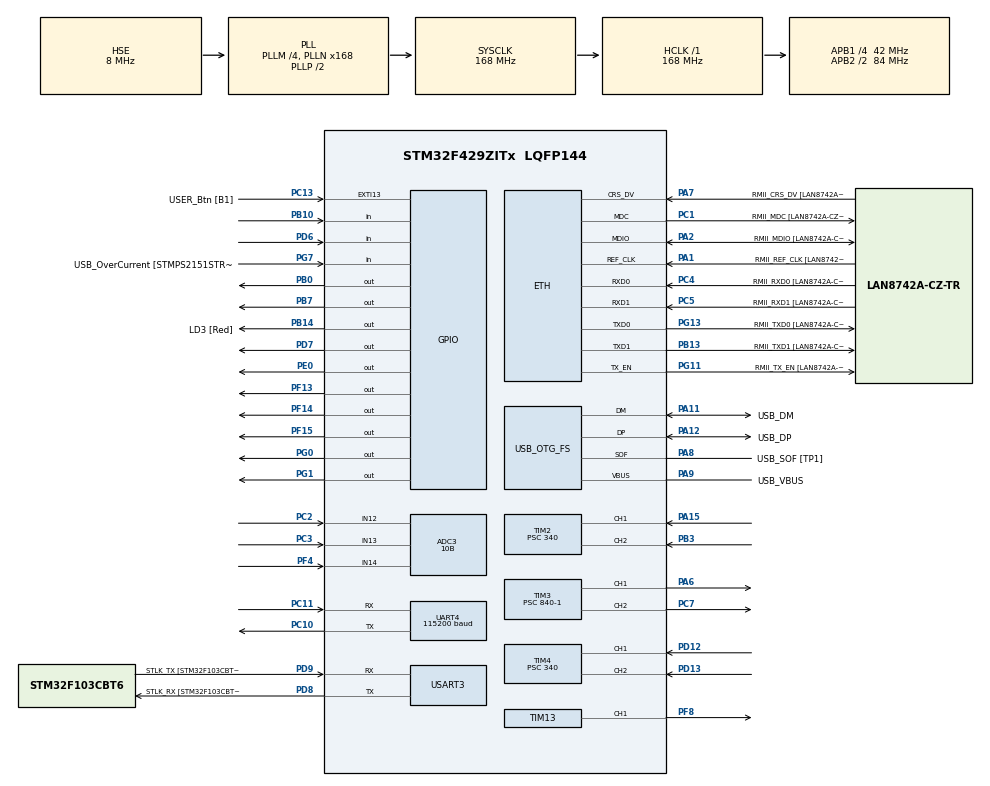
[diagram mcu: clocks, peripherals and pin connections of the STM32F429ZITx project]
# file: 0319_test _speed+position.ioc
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ADC3.Channel-3\#ChannelRegularConversion=ADC_CHANNEL_12
ADC3.Channel-4\#ChannelRegularConversion=ADC_CHANNEL_13
ADC3.Channel-5\#ChannelRegularConversion=ADC_CHANNEL_14
ADC3.ContinuousConvMode=DISABLE
ADC3.DMAContinuousRequests=ENABLE
ADC3.ExternalTrigConv=ADC_EXTERNALTRIGCONV_T8_TRGO
ADC3.NbrOfConversion=3
ADC3.NbrOfConversionFlag=1
ADC3.Rank-3\#ChannelRegularConversion=1
ADC3.Rank-4\#ChannelRegularConversion=2
ADC3.Rank-5\#ChannelRegularConversion=3
ADC3.Resolution=ADC_RESOLUTION_10B
ADC3.SamplingTime-3\#ChannelRegularConversion=ADC_SAMPLETIME_480CYCLES
ADC3.SamplingTime-4\#ChannelRegularConversion=ADC_SAMPLETIME_480CYCLES
ADC3.SamplingTime-5\#ChannelRegularConversion=ADC_SAMPLETIME_480CYCLES
ADC3.ScanConvMode=ENABLE
Dma.ADC3.1.Direction=DMA_PERIPH_TO_MEMORY
Dma.ADC3.1.FIFOMode=DMA_FIFOMODE_DISABLE
Dma.ADC3.1.Instance=DMA2_Stream1
Dma.ADC3.1.MemDataAlignment=DMA_MDATAALIGN_HALFWORD
Dma.ADC3.1.MemInc=DMA_MINC_ENABLE
Dma.ADC3.1.Mode=DMA_CIRCULAR
Dma.ADC3.1.PeriphDataAlignment=DMA_PDATAALIGN_HALFWORD
Dma.ADC3.1.PeriphInc=DMA_PINC_DISABLE
Dma.ADC3.1.Priority=DMA_PRIORITY_LOW
Dma.Request0=TIM4_UP
Dma.Request1=ADC3
Dma.TIM4_UP.0.Direction=DMA_PERIPH_TO_MEMORY
Dma.TIM4_UP.0.FIFOMode=DMA_FIFOMODE_DISABLE
Dma.TIM4_UP.0.Instance=DMA1_Stream6
Dma.TIM4_UP.0.MemDataAlignment=DMA_MDATAALIGN_HALFWORD
Dma.TIM4_UP.0.MemInc=DMA_MINC_ENABLE
Dma.TIM4_UP.0.Mode=DMA_NORMAL
Dma.TIM4_UP.0.PeriphDataAlignment=DMA_PDATAALIGN_HALFWORD
Dma.TIM4_UP.0.PeriphInc=DMA_PINC_DISABLE
Dma.TIM4_UP.0.Priority=DMA_PRIORITY_LOW
ETH.MediaInterface=HAL_ETH_RMII_MODE
ETH.PHY_Name=LAN8742A_PHY_ADDRESS
ETH.PHY_Value=0
ETH.PhyAddress=0
Mcu.Family=STM32F4
Mcu.Name=STM32F429ZITx
Mcu.Package=LQFP144
NVIC.ADC_IRQn=true\:0\:0\:false\:false\:true\:true\:true\:true
NVIC.DMA1_Stream6_IRQn=true\:0\:0\:false\:false\:true\:false\:true\:true
NVIC.DMA2_Stream1_IRQn=true\:0\:0\:false\:false\:true\:false\:true\:true
NVIC.PriorityGroup=NVIC_PRIORITYGROUP_4
NVIC.TIM3_IRQn=true\:0\:0\:false\:false\:true\:true\:true\:true
NVIC.TIM6_DAC_IRQn=true\:6\:0\:true\:false\:true\:true\:true\:true
NVIC.TIM8_BRK_TIM12_IRQn=true\:0\:0\:false\:false\:true\:true\:true\:true
NVIC.TIM8_TRG_COM_TIM14_IRQn=true\:0\:0\:false\:false\:true\:true\:true\:true
NVIC.TIM8_UP_TIM13_IRQn=true\:0\:0\:false\:false\:true\:true\:true\:true
NVIC.UART4_IRQn=true\:0\:0\:false\:false\:true\:true\:true\:true
NVIC.USART3_IRQn=true\:0\:0\:false\:false\:true\:true\:true\:true
PA1.GPIO_Label=RMII_REF_CLK [LAN8742A-CZ-TR_REFCLK0]
PA1.Mode=RMII
PA1.Signal=ETH_REF_CLK
PA10.GPIO_Label=USB_ID
PA10.Signal=USB_OTG_FS_ID
PA11.GPIO_Label=USB_DM
PA11.Mode=Device_Only
PA11.Signal=USB_OTG_FS_DM
PA12.GPIO_Label=USB_DP
PA12.Mode=Device_Only
PA12.Signal=USB_OTG_FS_DP
PA13.GPIO_Label=TMS
PA13.Mode=Serial_Wire
PA13.Signal=SYS_JTMS-SWDIO
PA14.GPIO_Label=TCK
PA14.Mode=Serial_Wire
PA14.Signal=SYS_JTCK-SWCLK
PA15.Signal=S_TIM2_CH1_ETR
PA2.GPIO_Label=RMII_MDIO [LAN8742A-CZ-TR_MDIO]
PA2.Mode=RMII
PA2.Signal=ETH_MDIO
PA6.Signal=S_TIM3_CH1
PA7.GPIO_Label=RMII_CRS_DV [LAN8742A-CZ-TR_CRS_DV]
PA7.Mode=RMII
PA7.Signal=ETH_CRS_DV
PA8.GPIO_Label=USB_SOF [TP1]
PA8.Mode=Activate_SOF_FS
PA8.Signal=USB_OTG_FS_SOF
PA9.GPIO_Label=USB_VBUS
PA9.Mode=Activate_VBUS
PA9.Signal=USB_OTG_FS_VBUS
PB0.Signal=GPIO_Output
PB10.Signal=GPIO_Input
PB13.GPIO_Label=RMII_TXD1 [LAN8742A-CZ-TR_TXD1]
PB13.Mode=RMII
PB13.Signal=ETH_TXD1
PB14.GPIO_Label=LD3 [Red]
PB14.Signal=GPIO_Output
PB3.Signal=S_TIM2_CH2
PB7.Signal=GPIO_Output
PC1.GPIO_Label=RMII_MDC [LAN8742A-CZ-TR_MDC]
PC1.Mode=RMII
PC1.Signal=ETH_MDC
PC10.Mode=Asynchronous
PC10.Signal=UART4_TX
PC11.Mode=Asynchronous
PC11.Signal=UART4_RX
PC13.GPIO_Label=USER_Btn [B1]
PC13.Signal=GPXTI13
PC14/OSC32_IN.Mode=LSE-External-Oscillator
PC14/OSC32_IN.Signal=RCC_OSC32_IN
PC15/OSC32_OUT.Mode=LSE-External-Oscillator
PC15/OSC32_OUT.Signal=RCC_OSC32_OUT
PC2.Signal=ADCx_IN12
PC3.Signal=ADCx_IN13
PC4.GPIO_Label=RMII_RXD0 [LAN8742A-CZ-TR_RXD0]
PC4.Mode=RMII
PC4.Signal=ETH_RXD0
PC5.GPIO_Label=RMII_RXD1 [LAN8742A-CZ-TR_RXD1]
PC5.Mode=RMII
PC5.Signal=ETH_RXD1
PC7.Signal=S_TIM3_CH2
PD12.Signal=S_TIM4_CH1
PD13.Signal=S_TIM4_CH2
PD6.Signal=GPIO_Input
PD7.Signal=GPIO_Output
PD8.GPIO_Label=STLK_RX [STM32F103CBT6_PA3]
PD8.Mode=Asynchronous
PD8.Signal=USART3_TX
PD9.GPIO_Label=STLK_TX [STM32F103CBT6_PA2]
PD9.Mode=Asynchronous
PD9.Signal=USART3_RX
PE0.Signal=GPIO_Output
PF13.Signal=GPIO_Output
PF14.Signal=GPIO_Output
PF15.Signal=GPIO_Output
PF4.Mode=IN14
PF4.Signal=ADC3_IN14
PF8.Signal=S_TIM13_CH1
PG0.Signal=GPIO_Output
PG1.Signal=GPIO_Output
PG11.GPIO_Label=RMII_TX_EN [LAN8742A-CZ-TR_TXEN]
PG11.Mode=RMII
PG11.Signal=ETH_TX_EN
PG13.GPIO_Label=RMII_TXD0 [LAN8742A-CZ-TR_TXD0]
PG13.Mode=RMII
PG13.Signal=ETH_TXD0
PG7.GPIO_Label=USB_OverCurrent [STMPS2151STR_FAULT]
PG7.Signal=GPIO_Input
PH0/OSC_IN.GPIO_Label=MCO [STM32F103CBT6_PA8]
PH0/OSC_IN.Mode=HSE-External-Clock-Source
PH0/OSC_IN.Signal=RCC_OSC_IN
PH1/OSC_OUT.Mode=HSE-External-Clock-Source
PH1/OSC_OUT.Signal=RCC_OSC_OUT
ProjectManager.HeapSize=0x200
ProjectManager.StackSize=0x400
ProjectManager.TargetToolchain=STM32CubeIDE
RCC.48MHZClocksFreq_Value=48000000
RCC.AHBFreq_Value=168000000
RCC.APB1CLKDivider=RCC_HCLK_DIV4
RCC.APB1Freq_Value=42000000
RCC.APB1TimFreq_Value=84000000
RCC.APB2CLKDivider=RCC_HCLK_DIV2
RCC.APB2Freq_Value=84000000
RCC.APB2TimCLKDivider=2
RCC.APB2TimFreq_Value=168000000
RCC.CortexFreq_Value=168000000
RCC.HCLKFreq_Value=168000000
RCC.HSE_VALUE=8000000
RCC.HSI_VALUE=16000000
RCC.PLLM=4
RCC.PLLMUL=RCC_PLL_MUL9
RCC.PLLN=168
RCC.PLLQ=7
RCC.PRESCALERUSB=RCC_USBCLKSOURCE_PLL_DIV1_5
RCC.SYSCLKFreq_VALUE=168000000
RCC.SYSCLKSource=RCC_SYSCLKSOURCE_PLLCLK
RCC.SYSCLKSourceVirtual=RCC_SYSCLKSOURCE_PLLCLK
RCC.USBFreq_Value=48000000
RCC.VCOOutputFreq_Value=336000000
SH.ADCx_IN12.0=ADC3_IN12,IN12
SH.ADCx_IN13.0=ADC3_IN13,IN13
SH.S_TIM13_CH1.0=TIM13_CH1,Output Compare1 CH1
SH.S_TIM2_CH1_ETR.0=TIM2_CH1,Encoder_Interface
SH.S_TIM2_CH2.0=TIM2_CH2,Encoder_Interface
SH.S_TIM3_CH1.0=TIM3_CH1,PWM Generation1 CH1
SH.S_TIM3_CH2.0=TIM3_CH2,PWM Generation2 CH2
SH.S_TIM4_CH1.0=TIM4_CH1,Encoder_Interface
SH.S_TIM4_CH2.0=TIM4_CH2,Encoder_Interface
TIM12.Prescaler=42-1
TIM13.AutoReloadPreload=TIM_AUTORELOAD_PRELOAD_ENABLE
TIM13.Channel=TIM_CHANNEL_1
TIM13.OCMode_1=TIM_OCMODE_TOGGLE
TIM13.Period=700-1
TIM13.Prescaler=84-1
TIM13.Pulse=500
TIM14.Period=1000-1
TIM14.Prescaler=840-1
TIM2.EncoderMode=TIM_ENCODERMODE_TI12
TIM2.Period=65000
TIM2.Prescaler=340
TIM3.Channel-PWM\ Generation1\ CH1=TIM_CHANNEL_1
TIM3.Channel-PWM\ Generation2\ CH2=TIM_CHANNEL_2
TIM3.OC1Preload_PWM=DISABLE
TIM3.OC2Preload_PWM=DISABLE
TIM3.Period=1000-1
TIM3.Prescaler=840-1
TIM3.Pulse-PWM\ Generation1\ CH1=100
TIM3.Pulse-PWM\ Generation2\ CH2=100
TIM4.EncoderMode=TIM_ENCODERMODE_TI12
TIM4.Period=65000
TIM4.Prescaler=340
TIM6.Period=1000-1
TIM6.Prescaler=84-1
TIM8.Channel-Output\ Compare4\ No\ Output=TIM_CHANNEL_4
TIM8.Period=50-1
TIM8.Prescaler=840-1
TIM8.Pulse-Output\ Compare4\ No\ Output=2000
TIM8.TIM_MasterOutputTrigger=TIM_TRGO_UPDATE
UART4.BaudRate=115200
UART4.Parity=PARITY_EVEN
UART4.VirtualMode=Asynchronous
USART3.VirtualMode=VM_ASYNC
USB_OTG_FS.VirtualMode=Device_Only
VP_TIM12_VS_ClockSourceINT.Mode=Internal
VP_TIM13_VS_ClockSourceINT.Mode=Enable_Timer
VP_TIM14_VS_ClockSourceINT.Mode=Enable_Timer
VP_TIM3_VS_ClockSourceINT.Mode=Internal
VP_TIM6_VS_ClockSourceINT.Mode=Enable_Timer
VP_TIM8_VS_ClockSourceINT.Mode=Internal
VP_TIM8_VS_no_output4.Mode=Output Compare4 No Output
board=NUCLEO-F429ZI

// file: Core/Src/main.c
/* USER CODE BEGIN Header */
/**
 ******************************************************************************
 * @file           : main.c
 * @brief          : Main program body
 ******************************************************************************
 * @attention
 *
 * Copyright (c) 2024 STMicroelectronics.
 * All rights reserved.
 *
 * This software is licensed under terms that can be found in the LICENSE file
 * in the root directory of this software component.
 * If no LICENSE file comes with this software, it is provided AS-IS.
 *
 ******************************************************************************
 */
/* USER CODE END Header */
#include "main.h"
#include "string.h"

/* USER CODE BEGIN Includes */
#include "sensor.h"
#include "com.h"
#include "pid.h"
#include "step.h"
#include <stdio.h>
//ㅇㅇ

int counterrr = 0;

extern uint16_t input_position;
extern float Distance;
extern int position_start;

extern float battery_V;

uint8_t buffer[256];

uint8_t key_value;
UART_HandleTypeDef huart3;
uint8_t data;
UART_HandleTypeDef huart4;

uint32_t encoder_count = 10000;
char uart_buf[30];

int8_t RX_flag = 0;

uint32_t ENCODER_NEW, ENCODER_OLD;
float RPM;
float RPS;
uint16_t RPM_uint16;
uint16_t battery_uint16;
uint16_t ADC1_value[2];
uint16_t ADC1_0;
uint16_t ADC1_1;

uint8_t ENC[4];

uint16_t ADC3_value[3];

float Omega;

float x = 0;
double duty = 0;

extern int tim7_flag;
extern uint8_t time_1s;
extern float set_position;

extern uint8_t stop_flag;
extern int tim14_flag;
extern int tim6_flag;
extern int tim13_flag;
extern uint16_t step_pulse_count;

extern int tim12_flag;
int count = 0;
float f = 1.234;

extern int step_enable;
extern uint8_t rev10_flag;
extern uint8_t rev1_flag;

uint16_t step_count;

/* USER CODE END Includes */

ETH_TxPacketConfig TxConfig;
ETH_DMADescTypeDef  DMARxDscrTab[ETH_RX_DESC_CNT]; /* Ethernet Rx DMA Descriptors */
ETH_DMADescTypeDef  DMATxDscrTab[ETH_TX_DESC_CNT]; /* Ethernet Tx DMA Descriptors */

ADC_HandleTypeDef hadc3;
DMA_HandleTypeDef hdma_adc3;

ETH_HandleTypeDef heth;

TIM_HandleTypeDef htim2;
TIM_HandleTypeDef htim3;
TIM_HandleTypeDef htim4;
TIM_HandleTypeDef htim6;
TIM_HandleTypeDef htim8;
TIM_HandleTypeDef htim12;
TIM_HandleTypeDef htim13;
TIM_HandleTypeDef htim14;
DMA_HandleTypeDef hdma_tim4_up;

UART_HandleTypeDef huart4;
UART_HandleTypeDef huart3;

PCD_HandleTypeDef hpcd_USB_OTG_FS;

void SystemClock_Config(void);
static void MX_GPIO_Init(void);
static void MX_DMA_Init(void);
static void MX_ETH_Init(void);
static void MX_USART3_UART_Init(void);
static void MX_USB_OTG_FS_PCD_Init(void);
static void MX_TIM3_Init(void);
static void MX_TIM14_Init(void);
static void MX_TIM4_Init(void);
static void MX_UART4_Init(void);
static void MX_TIM2_Init(void);
static void MX_TIM8_Init(void);
static void MX_TIM6_Init(void);
static void MX_TIM13_Init(void);
static void MX_ADC3_Init(void);
static void MX_TIM12_Init(void);

/* USER CODE BEGIN 0 */

uint16_t pulse_step = 200 * 2;
uint16_t pulse_cycle = 850;
/* USER CODE END 0 */

int main(void)
{

  /* MCU Configuration--------------------------------------------------------*/

  /* Reset of all peripherals, Initializes the Flash interface and the Systick. */
  HAL_Init();

  /* Configure the system clock */
  SystemClock_Config();

  /* Initialize all configured peripherals */
  MX_GPIO_Init();
  MX_DMA_Init();
  MX_ETH_Init();
  MX_USART3_UART_Init();
  MX_USB_OTG_FS_PCD_Init();
  MX_TIM3_Init();
  MX_TIM14_Init();
  MX_TIM4_Init();
  MX_UART4_Init();
  MX_TIM2_Init();
  MX_TIM8_Init();
  MX_TIM6_Init();
  MX_TIM13_Init();
  MX_ADC3_Init();
  MX_TIM12_Init();
  /* USER CODE BEGIN 2 */

	HAL_UART_Receive_IT(&huart3, &key_value, 1);
	HAL_UART_Receive_IT(&huart4, &data, 1);

	HAL_ADC_Start_DMA(&hadc3, (uint32_t*) ADC3_value, 3);

	HAL_TIM_Base_Start_IT(&htim6);
	//HAL_TIM_Base_Start_IT(&htim7);

	//HAL_TIM_Base_Start(&htim1);
	HAL_TIM_Base_Start_IT(&htim12);
//	HAL_TIM_OC_Start_IT(&htim13,TIM_CHANNEL_1);
	HAL_TIM_PWM_Start_IT(&htim3, TIM_CHANNEL_1);
	setvbuf(stdin, NULL, _IONBF, 0);
  /* USER CODE END 2 */

  /* Infinite loop */
	while (1) {

    /* USER CODE BEGIN 3 */
		encoder_count = TIM4->CNT;

		if (tim13_flag == 1) {
			z_axis_step_motor(pulse_step, pulse_cycle);  //(펄스,주기) 펄스:200당 한바퀴
			tim13_flag = 0;
		}

		if (tim6_flag == 1) {  //0.01s
			distance_sensor();  //거리 센서

			tim6_flag = 0;
		}
		if (tim14_flag == 200) //2초
				{

			RPM_uint16 = RPM * 10;
			battery_uint16 = battery_V * 100;

			SerialSendChar_WIFI('?');

			/*
			 sprintf((char *)buffer, "%d \r\n",battery_uint16);
			 HAL_UART_Transmit(&huart3, buffer, strlen((char *)buffer), 100);

			 sprintf((char *)buffer, "%d \r\n",RPM_uint16);
			 HAL_UART_Transmit(&huart3, buffer, strlen((char *)buffer), 100);
			 */

//배터리, 속도 전송
			sprintf((char*) buffer, "%d", battery_uint16);
			HAL_UART_Transmit(&huart4, buffer, strlen((char*) buffer), 100);
			sprintf((char*) buffer, "%d", RPM_uint16);
			HAL_UART_Transmit(&huart4, buffer, strlen((char*) buffer), 100);
			sprintf((char*) buffer, "%d", battery_uint16);
			HAL_UART_Transmit(&huart4, buffer, strlen((char*) buffer), 100);

			//  	  HAL_Delay(2000);

			tim14_flag = 0;
		}
		if (tim6_flag == 1) {
			if (position_start == 1) {
				position_pid();

				tim6_flag = 0;
			}
		}

		//  printf("%d %d \n\r",encoder_count,input_position );

//	  HAL_Delay(1);

	}
  /* USER CODE END 3 */
}

void SystemClock_Config(void)
{
  RCC_OscInitTypeDef RCC_OscInitStruct = {0};
  RCC_ClkInitTypeDef RCC_ClkInitStruct = {0};

  /** Configure the main internal regulator output voltage
  */
  __HAL_RCC_PWR_CLK_ENABLE();
  __HAL_PWR_VOLTAGESCALING_CONFIG(PWR_REGULATOR_VOLTAGE_SCALE1);

  /** Initializes the RCC Oscillators according to the specified parameters
  * in the RCC_OscInitTypeDef structure.
  */
  RCC_OscInitStruct.OscillatorType = RCC_OSCILLATORTYPE_HSE;
  RCC_OscInitStruct.HSEState = RCC_HSE_BYPASS;
  RCC_OscInitStruct.PLL.PLLState = RCC_PLL_ON;
  RCC_OscInitStruct.PLL.PLLSource = RCC_PLLSOURCE_HSE;
  RCC_OscInitStruct.PLL.PLLM = 4;
  RCC_OscInitStruct.PLL.PLLN = 168;
  RCC_OscInitStruct.PLL.PLLP = RCC_PLLP_DIV2;
  RCC_OscInitStruct.PLL.PLLQ = 7;
  if (HAL_RCC_OscConfig(&RCC_OscInitStruct) != HAL_OK)
  {
    Error_Handler();
  }

  /** Initializes the CPU, AHB and APB buses clocks
  */
  RCC_ClkInitStruct.ClockType = RCC_CLOCKTYPE_HCLK|RCC_CLOCKTYPE_SYSCLK
                              |RCC_CLOCKTYPE_PCLK1|RCC_CLOCKTYPE_PCLK2;
  RCC_ClkInitStruct.SYSCLKSource = RCC_SYSCLKSOURCE_PLLCLK;
  RCC_ClkInitStruct.AHBCLKDivider = RCC_SYSCLK_DIV1;
  RCC_ClkInitStruct.APB1CLKDivider = RCC_HCLK_DIV4;
  RCC_ClkInitStruct.APB2CLKDivider = RCC_HCLK_DIV2;

  if (HAL_RCC_ClockConfig(&RCC_ClkInitStruct, FLASH_LATENCY_5) != HAL_OK)
  {
    Error_Handler();
  }
}

static void MX_ADC3_Init(void)
{

  ADC_ChannelConfTypeDef sConfig = {0};

  /** Configure the global features of the ADC (Clock, Resolution, Data Alignment and number of conversion)
  */
  hadc3.Instance = ADC3;
  hadc3.Init.ClockPrescaler = ADC_CLOCK_SYNC_PCLK_DIV4;
  hadc3.Init.Resolution = ADC_RESOLUTION_10B;
  hadc3.Init.ScanConvMode = ENABLE;
  hadc3.Init.ContinuousConvMode = DISABLE;
  hadc3.Init.DiscontinuousConvMode = DISABLE;
  hadc3.Init.ExternalTrigConvEdge = ADC_EXTERNALTRIGCONVEDGE_RISING;
  hadc3.Init.ExternalTrigConv = ADC_EXTERNALTRIGCONV_T8_TRGO;
  hadc3.Init.DataAlign = ADC_DATAALIGN_RIGHT;
  hadc3.Init.NbrOfConversion = 3;
  hadc3.Init.DMAContinuousRequests = ENABLE;
  hadc3.Init.EOCSelection = ADC_EOC_SINGLE_CONV;
  if (HAL_ADC_Init(&hadc3) != HAL_OK)
  {
    Error_Handler();
  }

  /** Configure for the selected ADC regular channel its corresponding rank in the sequencer and its sample time.
  */
  sConfig.Channel = ADC_CHANNEL_12;
  sConfig.Rank = 1;
  sConfig.SamplingTime = ADC_SAMPLETIME_480CYCLES;
  if (HAL_ADC_ConfigChannel(&hadc3, &sConfig) != HAL_OK)
  {
    Error_Handler();
  }

  /** Configure for the selected ADC regular channel its corresponding rank in the sequencer and its sample time.
  */
  sConfig.Channel = ADC_CHANNEL_13;
  sConfig.Rank = 2;
  if (HAL_ADC_ConfigChannel(&hadc3, &sConfig) != HAL_OK)
  {
    Error_Handler();
  }

  /** Configure for the selected ADC regular channel its corresponding rank in the sequencer and its sample time.
  */
  sConfig.Channel = ADC_CHANNEL_14;
  sConfig.Rank = 3;
  if (HAL_ADC_ConfigChannel(&hadc3, &sConfig) != HAL_OK)
  {
    Error_Handler();
  }

}

static void MX_ETH_Init(void)
{

   static uint8_t MACAddr[6];

  heth.Instance = ETH;
  MACAddr[0] = 0x00;
  MACAddr[1] = 0x80;
  MACAddr[2] = 0xE1;
  MACAddr[3] = 0x00;
  MACAddr[4] = 0x00;
  MACAddr[5] = 0x00;
  heth.Init.MACAddr = &MACAddr[0];
  heth.Init.MediaInterface = HAL_ETH_RMII_MODE;
  heth.Init.TxDesc = DMATxDscrTab;
  heth.Init.RxDesc = DMARxDscrTab;
  heth.Init.RxBuffLen = 1524;

  if (HAL_ETH_Init(&heth) != HAL_OK)
  {
    Error_Handler();
  }

  memset(&TxConfig, 0 , sizeof(ETH_TxPacketConfig));
  TxConfig.Attributes = ETH_TX_PACKETS_FEATURES_CSUM | ETH_TX_PACKETS_FEATURES_CRCPAD;
  TxConfig.ChecksumCtrl = ETH_CHECKSUM_IPHDR_PAYLOAD_INSERT_PHDR_CALC;
  TxConfig.CRCPadCtrl = ETH_CRC_PAD_INSERT;

}

static void MX_TIM2_Init(void)
{

  TIM_Encoder_InitTypeDef sConfig = {0};
  TIM_MasterConfigTypeDef sMasterConfig = {0};

  htim2.Instance = TIM2;
  htim2.Init.Prescaler = 340;
  htim2.Init.CounterMode = TIM_COUNTERMODE_UP;
  htim2.Init.Period = 65000;
  htim2.Init.ClockDivision = TIM_CLOCKDIVISION_DIV1;
  htim2.Init.AutoReloadPreload = TIM_AUTORELOAD_PRELOAD_DISABLE;
  sConfig.EncoderMode = TIM_ENCODERMODE_TI12;
  sConfig.IC1Polarity = TIM_ICPOLARITY_RISING;
  sConfig.IC1Selection = TIM_ICSELECTION_DIRECTTI;
  sConfig.IC1Prescaler = TIM_ICPSC_DIV1;
  sConfig.IC1Filter = 0;
  sConfig.IC2Polarity = TIM_ICPOLARITY_RISING;
  sConfig.IC2Selection = TIM_ICSELECTION_DIRECTTI;
  sConfig.IC2Prescaler = TIM_ICPSC_DIV1;
  sConfig.IC2Filter = 0;
  if (HAL_TIM_Encoder_Init(&htim2, &sConfig) != HAL_OK)
  {
    Error_Handler();
  }
  sMasterConfig.MasterOutputTrigger = TIM_TRGO_RESET;
  sMasterConfig.MasterSlaveMode = TIM_MASTERSLAVEMODE_DISABLE;
  if (HAL_TIMEx_MasterConfigSynchronization(&htim2, &sMasterConfig) != HAL_OK)
  {
    Error_Handler();
  }
  /* USER CODE BEGIN TIM2_Init 2 */
	HAL_TIM_Encoder_Start(&htim2, TIM_CHANNEL_ALL);
  /* USER CODE END TIM2_Init 2 */

}

static void MX_TIM3_Init(void)
{

  TIM_ClockConfigTypeDef sClockSourceConfig = {0};
  TIM_MasterConfigTypeDef sMasterConfig = {0};
  TIM_OC_InitTypeDef sConfigOC = {0};

  htim3.Instance = TIM3;
  htim3.Init.Prescaler = 840-1;
  htim3.Init.CounterMode = TIM_COUNTERMODE_UP;
  htim3.Init.Period = 1000-1;
  htim3.Init.ClockDivision = TIM_CLOCKDIVISION_DIV1;
  htim3.Init.AutoReloadPreload = TIM_AUTORELOAD_PRELOAD_DISABLE;
  if (HAL_TIM_Base_Init(&htim3) != HAL_OK)
  {
    Error_Handler();
  }
  sClockSourceConfig.ClockSource = TIM_CLOCKSOURCE_INTERNAL;
  if (HAL_TIM_ConfigClockSource(&htim3, &sClockSourceConfig) != HAL_OK)
  {
    Error_Handler();
  }
  if (HAL_TIM_PWM_Init(&htim3) != HAL_OK)
  {
    Error_Handler();
  }
  sMasterConfig.MasterOutputTrigger = TIM_TRGO_RESET;
  sMasterConfig.MasterSlaveMode = TIM_MASTERSLAVEMODE_DISABLE;
  if (HAL_TIMEx_MasterConfigSynchronization(&htim3, &sMasterConfig) != HAL_OK)
  {
    Error_Handler();
  }
  sConfigOC.OCMode = TIM_OCMODE_PWM1;
  sConfigOC.Pulse = 100;
  sConfigOC.OCPolarity = TIM_OCPOLARITY_HIGH;
  sConfigOC.OCFastMode = TIM_OCFAST_DISABLE;
  if (HAL_TIM_PWM_ConfigChannel(&htim3, &sConfigOC, TIM_CHANNEL_1) != HAL_OK)
  {
    Error_Handler();
  }
  __HAL_TIM_DISABLE_OCxPRELOAD(&htim3, TIM_CHANNEL_1);
  if (HAL_TIM_PWM_ConfigChannel(&htim3, &sConfigOC, TIM_CHANNEL_2) != HAL_OK)
  {
    Error_Handler();
  }
  __HAL_TIM_DISABLE_OCxPRELOAD(&htim3, TIM_CHANNEL_2);
  /* USER CODE BEGIN TIM3_Init 2 */
	TIM3->DIER |= (1 << 1);   // CC1IE: Enable the Tim3 CC1 interrupt
	NVIC->ISER[0] |= (1 << 29); // TIM3_CC
	TIM3->CCER |= (1 << 0);	// CC1E=1: OC1(TIM5_CH1) Active(Capture/Compare 1 output enable)
	// ?��?��??(40�??????????????????????????????????????????)?�� ?��?�� ?��?��출력
	TIM3->CR1 |= (1 << 0);	// CEN: Counter TIM3 enable

  /* USER CODE END TIM3_Init 2 */
  HAL_TIM_MspPostInit(&htim3);

}

static void MX_TIM4_Init(void)
{

  TIM_Encoder_InitTypeDef sConfig = {0};
  TIM_MasterConfigTypeDef sMasterConfig = {0};

  htim4.Instance = TIM4;
  htim4.Init.Prescaler = 340;
  htim4.Init.CounterMode = TIM_COUNTERMODE_UP;
  htim4.Init.Period = 65000;
  htim4.Init.ClockDivision = TIM_CLOCKDIVISION_DIV1;
  htim4.Init.AutoReloadPreload = TIM_AUTORELOAD_PRELOAD_DISABLE;
  sConfig.EncoderMode = TIM_ENCODERMODE_TI12;
  sConfig.IC1Polarity = TIM_ICPOLARITY_RISING;
  sConfig.IC1Selection = TIM_ICSELECTION_DIRECTTI;
  sConfig.IC1Prescaler = TIM_ICPSC_DIV1;
  sConfig.IC1Filter = 0;
  sConfig.IC2Polarity = TIM_ICPOLARITY_RISING;
  sConfig.IC2Selection = TIM_ICSELECTION_DIRECTTI;
  sConfig.IC2Prescaler = TIM_ICPSC_DIV1;
  sConfig.IC2Filter = 0;
  if (HAL_TIM_Encoder_Init(&htim4, &sConfig) != HAL_OK)
  {
    Error_Handler();
  }
  sMasterConfig.MasterOutputTrigger = TIM_TRGO_RESET;
  sMasterConfig.MasterSlaveMode = TIM_MASTERSLAVEMODE_DISABLE;
  if (HAL_TIMEx_MasterConfigSynchronization(&htim4, &sMasterConfig) != HAL_OK)
  {
    Error_Handler();
  }
  /* USER CODE BEGIN TIM4_Init 2 */
	HAL_TIM_Encoder_Start(&htim4, TIM_CHANNEL_ALL);
  /* USER CODE END TIM4_Init 2 */

}

static void MX_TIM6_Init(void)
{

  /* USER CODE BEGIN TIM6_Init 0 */
	//0.001s = 1ms
	//PID 샘플링 주기
  /* USER CODE END TIM6_Init 0 */

  TIM_MasterConfigTypeDef sMasterConfig = {0};

  htim6.Instance = TIM6;
  htim6.Init.Prescaler = 84-1;
  htim6.Init.CounterMode = TIM_COUNTERMODE_UP;
  htim6.Init.Period = 1000-1;
  htim6.Init.AutoReloadPreload = TIM_AUTORELOAD_PRELOAD_DISABLE;
  if (HAL_TIM_Base_Init(&htim6) != HAL_OK)
  {
    Error_Handler();
  }
  sMasterConfig.MasterOutputTrigger = TIM_TRGO_RESET;
  sMasterConfig.MasterSlaveMode = TIM_MASTERSLAVEMODE_DISABLE;
  if (HAL_TIMEx_MasterConfigSynchronization(&htim6, &sMasterConfig) != HAL_OK)
  {
    Error_Handler();
  }
  /* USER CODE BEGIN TIM6_Init 2 */
	HAL_TIM_Base_Start_IT(&htim6);
  /* USER CODE END TIM6_Init 2 */

}

static void MX_TIM8_Init(void)
{

  /* USER CODE BEGIN TIM8_Init 0 */
	//ADC 측정 타이머 , 나중엔 필요 x
  /* USER CODE END TIM8_Init 0 */

  TIM_ClockConfigTypeDef sClockSourceConfig = {0};
  TIM_MasterConfigTypeDef sMasterConfig = {0};
  TIM_OC_InitTypeDef sConfigOC = {0};
  TIM_BreakDeadTimeConfigTypeDef sBreakDeadTimeConfig = {0};

  htim8.Instance = TIM8;
  htim8.Init.Prescaler = 840-1;
  htim8.Init.CounterMode = TIM_COUNTERMODE_UP;
  htim8.Init.Period = 50-1;
  htim8.Init.ClockDivision = TIM_CLOCKDIVISION_DIV1;
  htim8.Init.RepetitionCounter = 0;
  htim8.Init.AutoReloadPreload = TIM_AUTORELOAD_PRELOAD_DISABLE;
  if (HAL_TIM_Base_Init(&htim8) != HAL_OK)
  {
    Error_Handler();
  }
  sClockSourceConfig.ClockSource = TIM_CLOCKSOURCE_INTERNAL;
  if (HAL_TIM_ConfigClockSource(&htim8, &sClockSourceConfig) != HAL_OK)
  {
    Error_Handler();
  }
  if (HAL_TIM_OC_Init(&htim8) != HAL_OK)
  {
    Error_Handler();
  }
  sMasterConfig.MasterOutputTrigger = TIM_TRGO_UPDATE;
  sMasterConfig.MasterSlaveMode = TIM_MASTERSLAVEMODE_DISABLE;
  if (HAL_TIMEx_MasterConfigSynchronization(&htim8, &sMasterConfig) != HAL_OK)
  {
    Error_Handler();
  }
  sConfigOC.OCMode = TIM_OCMODE_TIMING;
  sConfigOC.Pulse = 2000;
  sConfigOC.OCPolarity = TIM_OCPOLARITY_HIGH;
  sConfigOC.OCFastMode = TIM_OCFAST_DISABLE;
  sConfigOC.OCIdleState = TIM_OCIDLESTATE_RESET;
  sConfigOC.OCNIdleState = TIM_OCNIDLESTATE_RESET;
  if (HAL_TIM_OC_ConfigChannel(&htim8, &sConfigOC, TIM_CHANNEL_4) != HAL_OK)
  {
    Error_Handler();
  }
  sBreakDeadTimeConfig.OffStateRunMode = TIM_OSSR_DISABLE;
  sBreakDeadTimeConfig.OffStateIDLEMode = TIM_OSSI_DISABLE;
  sBreakDeadTimeConfig.LockLevel = TIM_LOCKLEVEL_OFF;
  sBreakDeadTimeConfig.DeadTime = 0;
  sBreakDeadTimeConfig.BreakState = TIM_BREAK_DISABLE;
  sBreakDeadTimeConfig.BreakPolarity = TIM_BREAKPOLARITY_HIGH;
  sBreakDeadTimeConfig.AutomaticOutput = TIM_AUTOMATICOUTPUT_DISABLE;
  if (HAL_TIMEx_ConfigBreakDeadTime(&htim8, &sBreakDeadTimeConfig) != HAL_OK)
  {
    Error_Handler();
  }
  /* USER CODE BEGIN TIM8_Init 2 */
	HAL_TIM_Base_Start_IT(&htim8);
  /* USER CODE END TIM8_Init 2 */

}

static void MX_TIM12_Init(void)
{

  /* USER CODE BEGIN TIM12_Init 0 */
	// 초음파 센서
  /* USER CODE END TIM12_Init 0 */

  TIM_ClockConfigTypeDef sClockSourceConfig = {0};

  htim12.Instance = TIM12;
  htim12.Init.Prescaler = 42-1;
  htim12.Init.CounterMode = TIM_COUNTERMODE_UP;
  htim12.Init.Period = 65535;
  htim12.Init.ClockDivision = TIM_CLOCKDIVISION_DIV1;
  htim12.Init.AutoReloadPreload = TIM_AUTORELOAD_PRELOAD_DISABLE;
  if (HAL_TIM_Base_Init(&htim12) != HAL_OK)
  {
    Error_Handler();
  }
  sClockSourceConfig.ClockSource = TIM_CLOCKSOURCE_INTERNAL;
  if (HAL_TIM_ConfigClockSource(&htim12, &sClockSourceConfig) != HAL_OK)
  {
    Error_Handler();
  }

}

static void MX_TIM13_Init(void)
{

  /* USER CODE BEGIN TIM13_Init 0 */
// 테스트 용
  /* USER CODE END TIM13_Init 0 */

  TIM_OC_InitTypeDef sConfigOC = {0};

  htim13.Instance = TIM13;
  htim13.Init.Prescaler = 84-1;
  htim13.Init.CounterMode = TIM_COUNTERMODE_UP;
  htim13.Init.Period = 700-1;
  htim13.Init.ClockDivision = TIM_CLOCKDIVISION_DIV1;
  htim13.Init.AutoReloadPreload = TIM_AUTORELOAD_PRELOAD_ENABLE;
  if (HAL_TIM_Base_Init(&htim13) != HAL_OK)
  {
    Error_Handler();
  }
  if (HAL_TIM_OC_Init(&htim13) != HAL_OK)
  {
    Error_Handler();
  }
  sConfigOC.OCMode = TIM_OCMODE_TOGGLE;
  sConfigOC.Pulse = 500;
  sConfigOC.OCPolarity = TIM_OCPOLARITY_HIGH;
  sConfigOC.OCFastMode = TIM_OCFAST_DISABLE;
  if (HAL_TIM_OC_ConfigChannel(&htim13, &sConfigOC, TIM_CHANNEL_1) != HAL_OK)
  {
    Error_Handler();
  }
  /* USER CODE BEGIN TIM13_Init 2 */
	HAL_TIM_MspPostInit(&htim13);
  /* USER CODE END TIM13_Init 2 */
  HAL_TIM_MspPostInit(&htim13);

}

static void MX_TIM14_Init(void)
{

  /* USER CODE BEGIN TIM14_Init 0 */
//RPM 측정
  /* USER CODE END TIM14_Init 0 */

  htim14.Instance = TIM14;
  htim14.Init.Prescaler = 840-1;
  htim14.Init.CounterMode = TIM_COUNTERMODE_UP;
  htim14.Init.Period = 1000-1;
  htim14.Init.ClockDivision = TIM_CLOCKDIVISION_DIV1;
  htim14.Init.AutoReloadPreload = TIM_AUTORELOAD_PRELOAD_DISABLE;
  if (HAL_TIM_Base_Init(&htim14) != HAL_OK)
  {
    Error_Handler();
  }
  /* USER CODE BEGIN TIM14_Init 2 */
	TIM14->DIER |= (1 << 0);   // CC1IE: Enable the Tim14 UG interrupt
	NVIC->ISER[1] |= (1 << (45 - 32)); // TIM14_CC

	TIM14->CR1 |= (1 << 0);	// CEN: Counter TIM14 enable

  /* USER CODE END TIM14_Init 2 */

}

static void MX_UART4_Init(void)
{

  huart4.Instance = UART4;
  huart4.Init.BaudRate = 115200;
  huart4.Init.WordLength = UART_WORDLENGTH_8B;
  huart4.Init.StopBits = UART_STOPBITS_1;
  huart4.Init.Parity = UART_PARITY_EVEN;
  huart4.Init.Mode = UART_MODE_TX_RX;
  huart4.Init.HwFlowCtl = UART_HWCONTROL_NONE;
  huart4.Init.OverSampling = UART_OVERSAMPLING_16;
  if (HAL_UART_Init(&huart4) != HAL_OK)
  {
    Error_Handler();
  }

}

static void MX_USART3_UART_Init(void)
{

  huart3.Instance = USART3;
  huart3.Init.BaudRate = 115200;
  huart3.Init.WordLength = UART_WORDLENGTH_8B;
  huart3.Init.StopBits = UART_STOPBITS_1;
  huart3.Init.Parity = UART_PARITY_NONE;
  huart3.Init.Mode = UART_MODE_TX_RX;
  huart3.Init.HwFlowCtl = UART_HWCONTROL_NONE;
  huart3.Init.OverSampling = UART_OVERSAMPLING_16;
  if (HAL_UART_Init(&huart3) != HAL_OK)
  {
    Error_Handler();
  }

}

static void MX_USB_OTG_FS_PCD_Init(void)
{

  hpcd_USB_OTG_FS.Instance = USB_OTG_FS;
  hpcd_USB_OTG_FS.Init.dev_endpoints = 4;
  hpcd_USB_OTG_FS.Init.speed = PCD_SPEED_FULL;
  hpcd_USB_OTG_FS.Init.dma_enable = DISABLE;
  hpcd_USB_OTG_FS.Init.phy_itface = PCD_PHY_EMBEDDED;
  hpcd_USB_OTG_FS.Init.Sof_enable = ENABLE;
  hpcd_USB_OTG_FS.Init.low_power_enable = DISABLE;
  hpcd_USB_OTG_FS.Init.lpm_enable = DISABLE;
  hpcd_USB_OTG_FS.Init.vbus_sensing_enable = ENABLE;
  hpcd_USB_OTG_FS.Init.use_dedicated_ep1 = DISABLE;
  if (HAL_PCD_Init(&hpcd_USB_OTG_FS) != HAL_OK)
  {
    Error_Handler();
  }

}

static void MX_DMA_Init(void)
{

  /* DMA controller clock enable */
  __HAL_RCC_DMA1_CLK_ENABLE();
  __HAL_RCC_DMA2_CLK_ENABLE();

  /* DMA interrupt init */
  /* DMA1_Stream6_IRQn interrupt configuration */
  HAL_NVIC_SetPriority(DMA1_Stream6_IRQn, 0, 0);
  HAL_NVIC_EnableIRQ(DMA1_Stream6_IRQn);
  /* DMA2_Stream1_IRQn interrupt configuration */
  HAL_NVIC_SetPriority(DMA2_Stream1_IRQn, 0, 0);
  HAL_NVIC_EnableIRQ(DMA2_Stream1_IRQn);

}

static void MX_GPIO_Init(void)
{
  GPIO_InitTypeDef GPIO_InitStruct = {0};

  /* GPIO Ports Clock Enable */
  __HAL_RCC_GPIOC_CLK_ENABLE();
  __HAL_RCC_GPIOF_CLK_ENABLE();
  __HAL_RCC_GPIOH_CLK_ENABLE();
  __HAL_RCC_GPIOA_CLK_ENABLE();
  __HAL_RCC_GPIOB_CLK_ENABLE();
  __HAL_RCC_GPIOG_CLK_ENABLE();
  __HAL_RCC_GPIOD_CLK_ENABLE();
  __HAL_RCC_GPIOE_CLK_ENABLE();

  /*Configure GPIO pin Output Level */
  HAL_GPIO_WritePin(GPIOB, GPIO_PIN_0|LD3_Pin|GPIO_PIN_7, GPIO_PIN_RESET);

  /*Configure GPIO pin Output Level */
  HAL_GPIO_WritePin(GPIOF, GPIO_PIN_13|GPIO_PIN_14|GPIO_PIN_15, GPIO_PIN_RESET);

  /*Configure GPIO pin Output Level */
  HAL_GPIO_WritePin(GPIOG, GPIO_PIN_0|GPIO_PIN_1, GPIO_PIN_RESET);

  /*Configure GPIO pin Output Level */
  HAL_GPIO_WritePin(GPIOD, GPIO_PIN_7, GPIO_PIN_RESET);

  /*Configure GPIO pin Output Level */
  HAL_GPIO_WritePin(GPIOE, GPIO_PIN_0, GPIO_PIN_RESET);

  /*Configure GPIO pin : USER_Btn_Pin */
  GPIO_InitStruct.Pin = USER_Btn_Pin;
  GPIO_InitStruct.Mode = GPIO_MODE_IT_RISING;
  GPIO_InitStruct.Pull = GPIO_NOPULL;
  HAL_GPIO_Init(USER_Btn_GPIO_Port, &GPIO_InitStruct);

  /*Configure GPIO pins : PB0 LD3_Pin PB7 */
  GPIO_InitStruct.Pin = GPIO_PIN_0|LD3_Pin|GPIO_PIN_7;
  GPIO_InitStruct.Mode = GPIO_MODE_OUTPUT_PP;
  GPIO_InitStruct.Pull = GPIO_NOPULL;
  GPIO_InitStruct.Speed = GPIO_SPEED_FREQ_LOW;
  HAL_GPIO_Init(GPIOB, &GPIO_InitStruct);

  /*Configure GPIO pins : PF13 PF14 PF15 */
  GPIO_InitStruct.Pin = GPIO_PIN_13|GPIO_PIN_14|GPIO_PIN_15;
  GPIO_InitStruct.Mode = GPIO_MODE_OUTPUT_PP;
  GPIO_InitStruct.Pull = GPIO_NOPULL;
  GPIO_InitStruct.Speed = GPIO_SPEED_FREQ_LOW;
  HAL_GPIO_Init(GPIOF, &GPIO_InitStruct);

  /*Configure GPIO pins : PG0 PG1 */
  GPIO_InitStruct.Pin = GPIO_PIN_0|GPIO_PIN_1;
  GPIO_InitStruct.Mode = GPIO_MODE_OUTPUT_PP;
  GPIO_InitStruct.Pull = GPIO_NOPULL;
  GPIO_InitStruct.Speed = GPIO_SPEED_FREQ_LOW;
  HAL_GPIO_Init(GPIOG, &GPIO_InitStruct);

  /*Configure GPIO pin : PB10 */
  GPIO_InitStruct.Pin = GPIO_PIN_10;
  GPIO_InitStruct.Mode = GPIO_MODE_INPUT;
  GPIO_InitStruct.Pull = GPIO_NOPULL;
  HAL_GPIO_Init(GPIOB, &GPIO_InitStruct);

  /*Configure GPIO pin : USB_OverCurrent_Pin */
  GPIO_InitStruct.Pin = USB_OverCurrent_Pin;
  GPIO_InitStruct.Mode = GPIO_MODE_INPUT;
  GPIO_InitStruct.Pull = GPIO_NOPULL;
  HAL_GPIO_Init(USB_OverCurrent_GPIO_Port, &GPIO_InitStruct);

  /*Configure GPIO pin : PD6 */
  GPIO_InitStruct.Pin = GPIO_PIN_6;
  GPIO_InitStruct.Mode = GPIO_MODE_INPUT;
  GPIO_InitStruct.Pull = GPIO_NOPULL;
  HAL_GPIO_Init(GPIOD, &GPIO_InitStruct);

  /*Configure GPIO pin : PD7 */
  GPIO_InitStruct.Pin = GPIO_PIN_7;
  GPIO_InitStruct.Mode = GPIO_MODE_OUTPUT_PP;
  GPIO_InitStruct.Pull = GPIO_NOPULL;
  GPIO_InitStruct.Speed = GPIO_SPEED_FREQ_LOW;
  HAL_GPIO_Init(GPIOD, &GPIO_InitStruct);

  /*Configure GPIO pin : PE0 */
  GPIO_InitStruct.Pin = GPIO_PIN_0;
  GPIO_InitStruct.Mode = GPIO_MODE_OUTPUT_PP;
  GPIO_InitStruct.Pull = GPIO_NOPULL;
  GPIO_InitStruct.Speed = GPIO_SPEED_FREQ_LOW;
  HAL_GPIO_Init(GPIOE, &GPIO_InitStruct);

}

/* USER CODE BEGIN 4 */
void HAL_TIM_PeriodElapsedCallback(TIM_HandleTypeDef *htim) {
	if (htim->Instance == TIM13) {

		GPIOB->ODR ^= 1 << 14;

		/* tim13_flag=1;

		 step_pulse_count++;

		 if(step_pulse_count==200*10)  //    2000/rev
		 {
		 HAL_GPIO_WritePin(GPIOF, GPIO_PIN_13, 1);  //정지
		 HAL_TIM_OC_Stop_IT(&htim13,TIM_CHANNEL_1);
		 }*/
	}
}

/* USER CODE END 4 */

void Error_Handler(void)
{
	__disable_irq();
	while (1) {
	}
}
